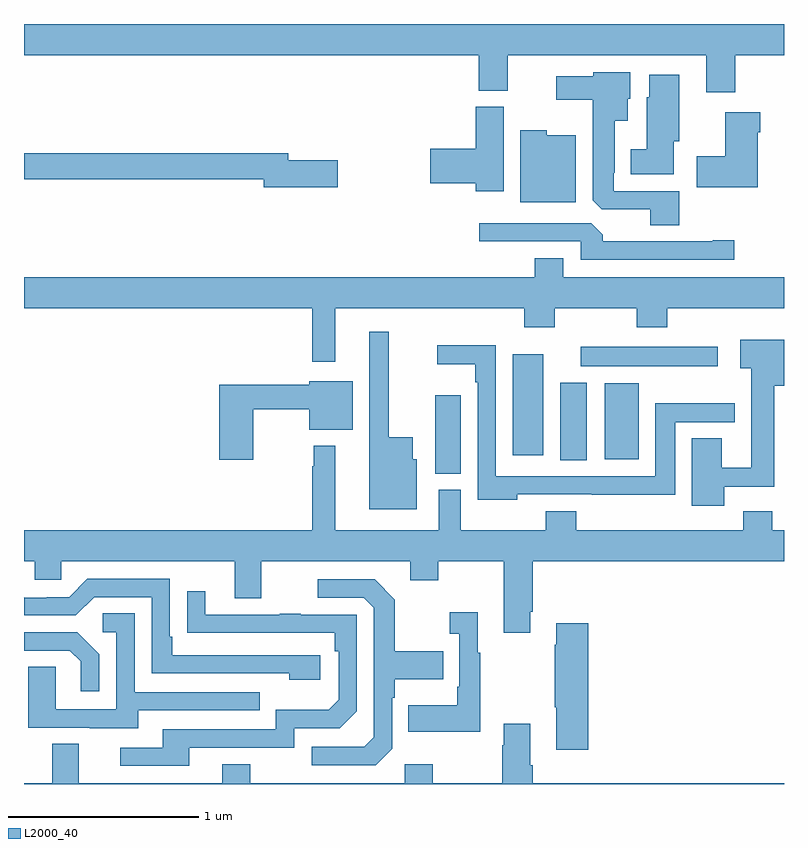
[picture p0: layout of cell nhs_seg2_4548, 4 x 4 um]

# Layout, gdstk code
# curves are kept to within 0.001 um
import gdstk
lib = gdstk.Library(unit=1e-6, precision=1e-09)
def R(c, l, rs):  # rectangles x0, y0, x1, y1
    for r in rs: c.add(gdstk.rectangle(r[:2], r[2:], *l))
def P(c, l, *ps):  # polygons
    for p in ps: c.add(gdstk.Polygon(p, *l))
L2000_40 = (2000, 40)

nhs_seg2_4548 = lib.new_cell('nhs_seg2_4548')
R(nhs_seg2_4548, L2000_40, [(359.165,645.433,359.299,645.847), (359.822,645.505,359.962,645.913), (360.056,645.509,360.235,645.91), (359.573,645.531,359.734,646.063), (359.931,645.998,360.652,646.102)])
P(nhs_seg2_4548, L2000_40, [(360.743,647.636),(361,647.636),(361,647.8),(357,647.8),(357,647.636),(359.393,647.636),(359.393,647.449),(359.545,647.449),(359.545,647.636),(360.59,647.636),(360.59,647.442),(360.743,647.442)],
  [(360.449,646.92),(360.105,646.92),(360.105,647.017),(360.109,647.017),(360.109,647.291),(360.178,647.291),(360.178,647.406),(360.19,647.406),(360.19,647.545),(359.997,647.545),(359.997,647.524),(359.802,647.524),(359.802,647.402),(359.993,647.402),(359.993,646.873),(360.042,646.824),(360.296,646.824),(360.296,646.741),(360.449,646.741)],
  [(360.421,647.184),(360.448,647.184),(360.448,647.533),(360.29,647.533),(360.29,647.415),(360.278,647.415),(360.278,647.14),(360.194,647.14),(360.194,647.009),(360.421,647.009)],
  [(359.524,647.364),(359.378,647.364),(359.378,647.144),(359.139,647.144),(359.139,646.961),(359.378,646.961),(359.378,646.92),(359.524,646.92)],
  [(360.862,647.231),(360.875,647.231),(360.875,647.335),(360.692,647.335),(360.692,647.103),(360.54,647.103),(360.54,646.94),(360.862,646.94)],
  [(359.905,647.215),(359.751,647.215),(359.751,647.242),(359.612,647.242),(359.612,646.862),(359.905,646.862)],
  [(358.651,647.084),(358.39,647.084),(358.39,647.12),(357,647.12),(357,646.984),(358.262,646.984),(358.262,646.942),(358.651,646.942)],
  [(360.739,646.661),(360.626,646.661),(360.626,646.656),(360.047,646.656),(360.047,646.69),(359.985,646.752),(359.397,646.752),(359.397,646.656),(359.931,646.656),(359.931,646.56),(360.739,646.56)],
  [(358.639,646.304),(359.633,646.304),(359.633,646.205),(359.793,646.205),(359.793,646.304),(360.226,646.304),(360.226,646.205),(360.386,646.205),(360.386,646.304),(361,646.304),(361,646.468),(359.839,646.468),(359.839,646.567),(359.687,646.567),(359.687,646.468),(357,646.468),(357,646.304),(358.518,646.304),(358.518,646.023),(358.639,646.023)],
  [(359.068,645.51),(359.047,645.51),(359.047,645.625),(358.921,645.625),(358.921,646.18),(358.817,646.18),(358.817,645.245),(359.068,645.245)],
  [(360.686,645.365),(360.949,645.365),(360.949,645.896),(361,645.896),(361,646.138),(360.771,646.138),(360.771,645.989),(360.827,645.989),(360.827,645.465),(360.673,645.465),(360.673,645.62),(360.515,645.62),(360.515,645.264),(360.686,645.264)],
  [(359.595,645.324),(359.989,645.324),(359.989,645.323),(360.427,645.323),(360.427,645.705),(360.742,645.705),(360.742,645.803),(360.323,645.803),(360.323,645.42),(359.484,645.42),(359.484,646.109),(359.175,646.109),(359.175,646.01),(359.376,646.01),(359.376,645.914),(359.388,645.914),(359.388,645.296),(359.595,645.296)],
  [(358.206,645.772),(358.502,645.772),(358.502,645.665),(358.729,645.665),(358.729,645.919),(358.502,645.919),(358.502,645.901),(358.028,645.901),(358.028,645.507),(358.206,645.507)],
  [(359.665,644.707),(359.678,644.707),(359.678,644.972),(361,644.972),(361,645.136),(360.937,645.136),(360.937,645.235),(360.785,645.235),(360.785,645.136),(359.906,645.136),(359.906,645.235),(359.746,645.235),(359.746,645.136),(359.299,645.136),(359.299,645.348),(359.183,645.348),(359.183,645.136),(358.639,645.136),(358.639,645.58),(358.525,645.58),(358.525,645.473),(358.518,645.473),(358.518,645.136),(357,645.136),(357,644.972),(357.057,644.972),(357.057,644.874),(357.195,644.874),(357.195,644.972),(358.109,644.972),(358.109,644.778),(358.249,644.778),(358.249,644.972),(359.033,644.972),(359.033,644.873),(359.181,644.873),(359.181,644.972),(359.525,644.972),(359.525,644.595),(359.665,644.595)],
  [(358.558,644.478),(357.781,644.478),(357.781,644.575),(357.768,644.575),(357.768,644.88),(357.333,644.88),(357.237,644.784),(357.119,644.784),(357.119,644.781),(357.003,644.781),(357,644.784),(357,644.688),(357.273,644.688),(357.369,644.784),(357.672,644.784),(357.672,644.382),(358.397,644.382),(358.397,644.348),(358.558,644.348)],
  [(358.938,643.986),(358.938,644.255),(358.951,644.255),(358.951,644.351),(359.207,644.351),(359.207,644.499),(358.951,644.499),(358.951,644.771),(358.845,644.877),(358.545,644.877),(358.545,644.781),(358.788,644.781),(358.842,644.727),(358.842,644.046),(358.791,643.995),(358.515,643.995),(358.515,643.899),(358.851,643.899)],
  [(357.871,643.992),(358.422,643.992),(358.422,644.094),(358.662,644.094),(358.752,644.184),(358.752,644.691),(358.457,644.691),(358.457,644.696),(358.345,644.696),(358.345,644.691),(357.955,644.691),(357.955,644.815),(357.859,644.815),(357.859,644.596),(358.636,644.595),(358.636,644.498),(358.656,644.498),(358.656,644.244),(358.603,644.191),(358.326,644.191),(358.326,644.088),(357.731,644.088),(357.731,643.992),(357.507,643.992),(357.507,643.896),(357.871,643.896)],
  [(359.401,644.491),(359.389,644.491),(359.389,644.704),(359.241,644.704),(359.241,644.591),(359.292,644.591),(359.292,644.311),(359.28,644.311),(359.28,644.215),(359.023,644.215),(359.023,644.075),(359.401,644.075)],
  [(357.601,644.187),(358.241,644.187),(358.241,644.283),(357.582,644.283),(357.582,644.699),(357.414,644.699),(357.414,644.598),(357.486,644.598),(357.486,644.193),(357.168,644.193),(357.168,644.417),(357.023,644.417),(357.023,644.097),(357.347,644.097),(357.347,644.093),(357.601,644.093)],
  [(359.969,644.647),(359.801,644.647),(359.801,644.534),(359.794,644.534),(359.794,644.203),(359.801,644.203),(359.801,643.98),(359.969,643.98)],
  [(357.396,644.482),(357.28,644.598),(357,644.598),(357,644.502),(357.242,644.502),(357.299,644.445),(357.299,644.289),(357.396,644.289)],
  [(361,643.804),(359.678,643.804),(359.678,643.9),(359.665,643.9),(359.665,644.116),(359.525,644.116),(359.525,644.003),(359.518,644.003),(359.518,643.804),(359.151,643.804),(359.151,643.903),(359.004,643.903),(359.004,643.804),(358.191,643.804),(358.191,643.903),(358.043,643.903),(358.043,643.804),(357.289,643.804),(357.289,644.012),(357.149,644.012),(357.149,643.804),(357,643.804),(357,643.8),(361,643.8)])

lib.write_gds('nhs_seg2_4548.gds')
